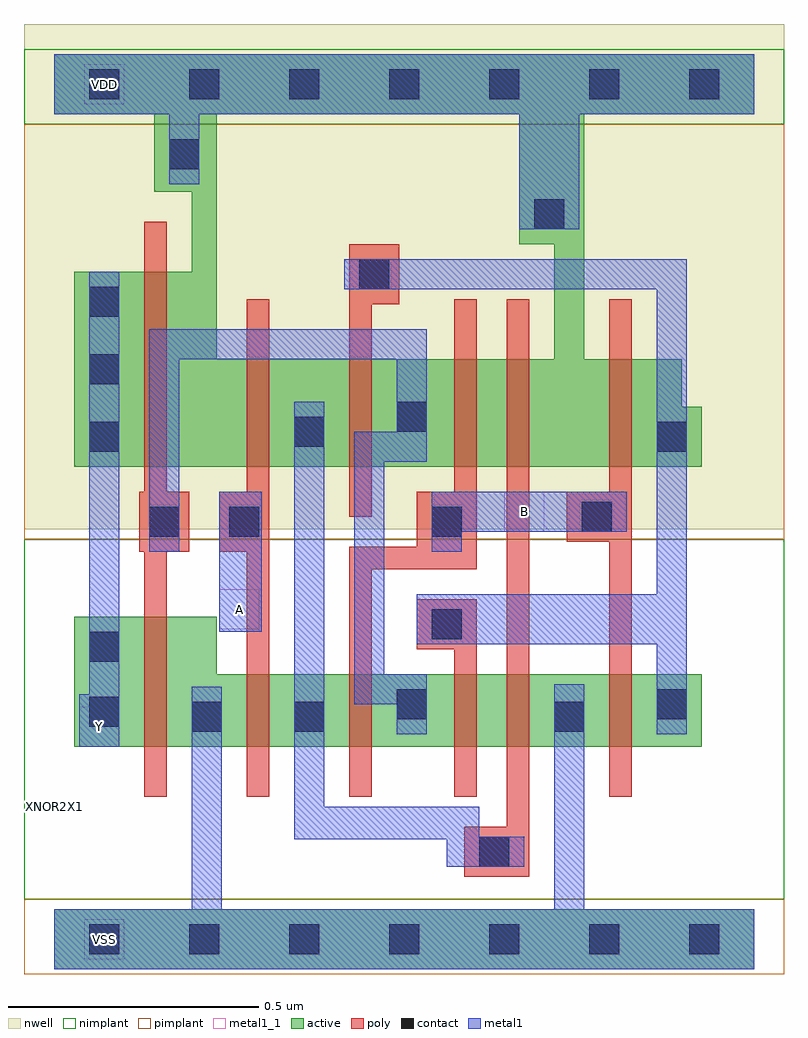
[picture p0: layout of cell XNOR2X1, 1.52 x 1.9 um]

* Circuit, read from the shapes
.subckt XNOR2X1 A B VDD VSS Y
M1 VSS n1 Y VSS nfet w=0.26u l=0.045u
M2 n2 A VSS VSS nfet w=0.145u l=0.045u
M3 n1 B n2 VSS nfet w=0.145u l=0.045u
M4 n3 n4 n1 VSS nfet w=0.145u l=0.045u
M5 VSS n2 n3 VSS nfet w=0.145u l=0.045u
M6 n4 B VSS VSS nfet w=0.145u l=0.045u
M7 VDD n1 Y VDD pfet w=0.39u l=0.045u
M8 n2 A VDD VDD pfet w=0.215u l=0.045u
M9 n1 n4 n2 VDD pfet w=0.215u l=0.045u
M10 n5 B n1 VDD pfet w=0.215u l=0.045u
M11 VDD n2 n5 VDD pfet w=0.215u l=0.045u
M12 n4 B VDD VDD pfet w=0.215u l=0.045u
.ends

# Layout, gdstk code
import gdstk
lib = gdstk.Library(unit=1e-6, precision=5e-10)
def R(c, l, rs):  # rectangles x0, y0, x1, y1
    for r in rs: c.add(gdstk.rectangle(r[:2], r[2:], *l))
def A(c, l, x, y, w, h, nx, ny, dx, dy):  # array of equal rectangles
    R(c, l, [(x+i*dx, y+j*dy, x+i*dx+w, y+j*dy+h) for i in range(nx) for j in range(ny)])
def P(c, l, *ps):  # polygons
    for p in ps: c.add(gdstk.Polygon(p, *l))
active = (1, 0)
nwell = (2, 0)
poly = (3, 0)
nimplant = (4, 0)
pimplant = (5, 0)
contact = (6, 0)
metal1 = (7, 0)
metal1_1 = (7, 1)

xnor2x1 = lib.new_cell('XNOR2X1')
R(xnor2x1, active, [(0,-0.06,1.4,0.06)])
P(xnor2x1, active, [(1.4,1.77),(1,1.77),(1,1.16),(0.325,1.16),(0.325,1.65),(0.93,1.65),(0.93,1.39),(1,1.39),(1,1.77),(0,1.77),(0,1.65),(0.2,1.65),(0.2,1.495),(0.275,1.495),(0.275,1.335),(0.04,1.335),(0.04,0.945),(1.295,0.945),(1.295,1.065),(1.255,1.065),(1.255,1.16),(1.06,1.16),(1.06,1.65),(1.4,1.65)],
  [(1.295,0.53),(0.325,0.53),(0.325,0.645),(0.04,0.645),(0.04,0.385),(1.295,0.385)])
R(xnor2x1, nwell, [(-0.06,0.82,1.46,1.83)])
P(xnor2x1, poly, [(1.155,1.28),(1.11,1.28),(1.11,0.895),(1.025,0.895),(1.025,0.795),(1.11,0.795),(1.11,0.285),(1.155,0.285)],
  [(0.95,1.28),(0.905,1.28),(0.905,0.225),(0.82,0.225),(0.82,0.125),(0.95,0.125)],
  [(0.845,0.68),(0.725,0.68),(0.725,0.58),(0.8,0.58),(0.8,0.285),(0.845,0.285)],
  [(0.845,1.28),(0.8,1.28),(0.8,0.895),(0.725,0.895),(0.725,0.785),(0.59,0.785),(0.59,0.285),(0.635,0.285),(0.635,0.74),(0.845,0.74)],
  [(0.69,1.39),(0.59,1.39),(0.59,0.845),(0.635,0.845),(0.635,1.27),(0.69,1.27)],
  [(0.43,1.28),(0.385,1.28),(0.385,0.895),(0.33,0.895),(0.33,0.775),(0.385,0.775),(0.385,0.285),(0.43,0.285)],
  [(0.27,0.895),(0.225,0.895),(0.225,1.435),(0.18,1.435),(0.18,0.895),(0.17,0.895),(0.17,0.775),(0.18,0.775),(0.18,0.285),(0.225,0.285),(0.225,0.775),(0.27,0.775)])
R(xnor2x1, nimplant, [(-0.06,0.08,1.46,0.8), (-0.06,1.63,1.46,1.78)])
R(xnor2x1, pimplant, [(-0.06,-0.07,1.46,0.08), (-0.06,0.8,1.46,1.63)])
A(xnor2x1, contact, 0.07, -0.03, 0.06, 0.06, 7, 2, 0.2, 1.71)
A(xnor2x1, contact, 0.07, 0.975, 0.06, 0.06, 1, 3, 0, 0.135)
R(xnor2x1, contact, [(0.85,0.145,0.91,0.205), (0.275,0.415,0.335,0.475), (0.48,0.415,0.54,0.475), (1,0.415,1.06,0.475), (0.07,0.425,0.13,0.485), (0.685,0.44,0.745,0.5), (1.205,0.44,1.265,0.5), (0.07,0.555,0.13,0.615), (0.755,0.6,0.815,0.66), (0.19,0.805,0.25,0.865), (0.35,0.805,0.41,0.865), (0.755,0.805,0.815,0.865), (1.055,0.815,1.115,0.875), (1.205,0.975,1.265,1.035), (0.48,0.985,0.54,1.045), (0.685,1.015,0.745,1.075), (0.61,1.3,0.67,1.36), (0.96,1.42,1.02,1.48), (0.23,1.54,0.29,1.6)])
R(xnor2x1, metal1, [(0.33,0.615,0.415,0.895), (0.755,0.775,0.815,0.815), (0.755,0.815,1.145,0.895)])
P(xnor2x1, metal1, [(1.4,1.77),(0,1.77),(0,1.65),(0.23,1.65),(0.23,1.51),(0.29,1.51),(0.29,1.65),(0.93,1.65),(0.93,1.42),(1.05,1.42),(1.05,1.65),(1.4,1.65)],
  [(1.265,1.36),(0.58,1.36),(0.58,1.3),(1.205,1.3),(1.205,0.69),(0.725,0.69),(0.725,0.59),(1.205,0.59),(1.205,0.41),(1.265,0.41)],
  [(1.4,0.06),(1.06,0.06),(1.06,0.51),(1,0.51),(1,0.06),(0.335,0.06),(0.335,0.505),(0.275,0.505),(0.275,0.06),(0,0.06),(0,-0.06),(1.4,-0.06)],
  [(0.94,0.205),(0.85,0.205),(0.85,0.265),(0.54,0.265),(0.54,1.075),(0.48,1.075),(0.48,0.2),(0.785,0.2),(0.785,0.145),(0.94,0.145)],
  [(0.745,0.53),(0.66,0.53),(0.66,0.955),(0.745,0.955),(0.745,1.22),(0.19,1.22),(0.19,0.775),(0.25,0.775),(0.25,1.16),(0.685,1.16),(0.685,1.015),(0.6,1.015),(0.6,0.47),(0.685,0.47),(0.685,0.41),(0.745,0.41)],
  [(0.13,1.335),(0.07,1.335),(0.07,0.49),(0.05,0.49),(0.05,0.385),(0.13,0.385)])
R(xnor2x1, metal1_1, [(0.06,-0.04,0.14,0.04), (0.05,0.385,0.13,0.465), (0.33,0.62,0.41,0.7), (0.9,0.815,0.98,0.895), (0.06,1.67,0.14,1.75)])
xnor2x1.add(gdstk.Label('B', (0.94,0.855), layer=7, texttype=1))
xnor2x1.add(gdstk.Label('A', (0.37,0.66), layer=7, texttype=1))
xnor2x1.add(gdstk.Label('VSS', (0.1,0), layer=7, texttype=1))
xnor2x1.add(gdstk.Label('Y', (0.09,0.425), layer=7, texttype=1))
xnor2x1.add(gdstk.Label('VDD', (0.1,1.71), layer=7, texttype=1))
xnor2x1.add(gdstk.Label('XNOR2X1', (0,0.265), layer=63, texttype=0))

lib.write_gds('XNOR2X1.gds')
